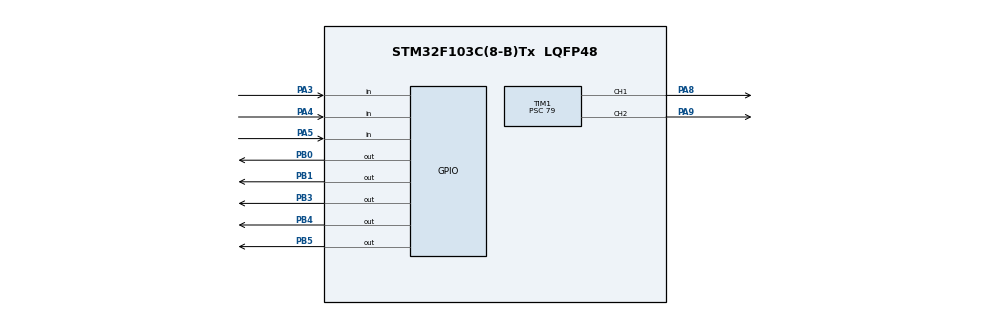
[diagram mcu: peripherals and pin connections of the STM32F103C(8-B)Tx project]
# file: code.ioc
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Mcu.Family=STM32F1
Mcu.Name=STM32F103C(8-B)Tx
Mcu.Package=LQFP48
NVIC.PriorityGroup=NVIC_PRIORITYGROUP_4
PA13.Mode=Serial_Wire
PA13.Signal=SYS_JTMS-SWDIO
PA14.Mode=Serial_Wire
PA14.Signal=SYS_JTCK-SWCLK
PA3.Signal=GPIO_Input
PA4.Signal=GPIO_Input
PA5.Signal=GPIO_Input
PA8.Signal=S_TIM1_CH1
PA9.Signal=S_TIM1_CH2
PB0.Signal=GPIO_Output
PB1.Signal=GPIO_Output
PB3.Signal=GPIO_Output
PB4.Signal=GPIO_Output
PB5.Signal=GPIO_Output
PD0-OSC_IN.Mode=HSE-External-Oscillator
PD0-OSC_IN.Signal=RCC_OSC_IN
PD1-OSC_OUT.Mode=HSE-External-Oscillator
PD1-OSC_OUT.Signal=RCC_OSC_OUT
ProjectManager.HeapSize=0x200
ProjectManager.StackSize=0x400
ProjectManager.TargetToolchain=MDK-ARM V5.32
RCC.APB1Freq_Value=8000000
RCC.APB2Freq_Value=8000000
RCC.SYSCLKSource=RCC_SYSCLKSOURCE_HSE
SH.S_TIM1_CH1.0=TIM1_CH1,PWM Generation1 CH1
SH.S_TIM1_CH2.0=TIM1_CH2,PWM Generation2 CH2
TIM1.Channel-PWM\ Generation1\ CH1=TIM_CHANNEL_1
TIM1.Channel-PWM\ Generation2\ CH2=TIM_CHANNEL_2
TIM1.OCMode_PWM-PWM\ Generation2\ CH2=TIM_OCMODE_PWM1
TIM1.Prescaler=79
TIM2.Prescaler=79
VP_TIM1_VS_ClockSourceINT.Mode=Internal
VP_TIM2_VS_ClockSourceINT.Mode=Internal
board=custom

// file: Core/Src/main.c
/* USER CODE BEGIN Header */
/**
  ******************************************************************************
  * @file           : main.c
  * @brief          : Main program body
  ******************************************************************************
  * @attention
  *
  * Copyright (c) 2023 STMicroelectronics.
  * All rights reserved.
  *
  * This software is licensed under terms that can be found in the LICENSE file
  * in the root directory of this software component.
  * If no LICENSE file comes with this software, it is provided AS-IS.
  *
  ******************************************************************************
  */
/* USER CODE END Header */
#include "main.h"

/* USER CODE BEGIN Includes */
uint8_t full_step_1_1[4] = {0x08,0x02,0x04,0x01};
uint8_t full_step_1_2[4] = {0x08,0x01,0x04,0x02};
uint8_t full_step_2_1[4] = {0x0A,0x06,0x05,0x09};
uint8_t full_step_2_2[4] = {0x0A,0x09,0x05,0x06};
uint8_t half_step_1[8]= {0x08,0x0A,0x02,0x06,0x04,0x05,0x01,0x09};
uint8_t half_step_2[8]= {0x08,0x09,0x01,0x05,0x04,0x06,0x02,0x0A};
uint8_t micro_step_1[8] = {20,38,56,70,83,92,98,100};
uint8_t micro_step_2[8] = {98,92,83,70,56,38,20,0};
uint8_t GPIO[4] = {GPIO_PIN_0,GPIO_PIN_1,GPIO_PIN_3,GPIO_PIN_5};
float cnt = 0;
float pos = 5;
float rpm = 200;
float t_delay;
int mode = 4;
/* USER CODE END Includes */

TIM_HandleTypeDef htim1;
TIM_HandleTypeDef htim2;

void SystemClock_Config(void);
static void MX_GPIO_Init(void);
static void MX_TIM1_Init(void);
static void MX_TIM2_Init(void);

/* USER CODE BEGIN 0 */
void duty_cycles_max(void)
{
	__HAL_TIM_SET_COMPARE(&htim1,TIM_CHANNEL_1,100);
	__HAL_TIM_SET_COMPARE(&htim1,TIM_CHANNEL_2,100);
}

void delay1_s(float time)
{
	__HAL_TIM_SetCounter(&htim2,0);
	while (__HAL_TIM_GetCounter(&htim2)<time*100000);
	cnt += 1;
}

void delay2_s(float time)
{
	__HAL_TIM_SetCounter(&htim2,0);
	while (__HAL_TIM_GetCounter(&htim2)<(time/2)*100000);
	cnt += 0.5;
}

void delay3_s(float time)
{
	__HAL_TIM_SetCounter(&htim2,0);
	while (__HAL_TIM_GetCounter(&htim2)<(time/16)*100000);
}

void full_step_1_cw(float rpm)
{
	duty_cycles_max();
	for(int i = 0; i < 4; i++)
	{
		for(int j = 0; j < 4; j++)
		{
			HAL_GPIO_WritePin(GPIOB,GPIO[j],(full_step_1_1[i]<<j)&0x08);
		}
		delay1_s(t_delay);
	}
}

void full_step_1_ccw(float rpm)
{
	duty_cycles_max();
	for(int i = 0; i < 4; i++)
	{
		for(int j = 0;j < 4; j++)
		{
			HAL_GPIO_WritePin(GPIOB,GPIO[j],(full_step_1_2[i]<<j)&0x08);
		}
		delay1_s(t_delay);
	}
}

void full_step_2_cw(float rpm)
{
	duty_cycles_max();
	for(int i = 0; i < 4; i++)
	{
		for(int j = 0; j < 4; j++)
		{
			HAL_GPIO_WritePin(GPIOB,GPIO[j],(full_step_2_1[i]<<j)&0x08);
		}
		delay1_s(t_delay);
	}
}

void full_step_2_ccw(float rpm)
{
	duty_cycles_max();
	for(int i = 0; i < 4; i++)
	{
		for(int j = 0; j < 4; j++)
		{
			HAL_GPIO_WritePin(GPIOB,GPIO[j],(full_step_2_2[i]<<j)&0x08);
		}
		delay1_s(t_delay);
	}
}

void half_step_cw(float rpm)
{
	duty_cycles_max();
	for(int i = 0; i < 8; i++)
	{
		for(int j = 0; j < 4; j++)
		{
			HAL_GPIO_WritePin(GPIOB,GPIO[j],(half_step_1[i]<<j)&0x08);
		}
		delay2_s(t_delay);
	}
}

void half_step_ccw(float rpm)
{
	duty_cycles_max();
	for(int i = 0; i < 8; i++)
	{
		for(int j = 0; j < 4; j++)
		{
			HAL_GPIO_WritePin(GPIOB,GPIO[j],(half_step_2[i]<<j)&0x08);
		}
		delay2_s(t_delay);
	}
}

void micro_step_cw(float rpm)
{
	__HAL_TIM_SET_COMPARE(&htim1,TIM_CHANNEL_2,0);
	__HAL_TIM_SET_COMPARE(&htim1,TIM_CHANNEL_1,100);
	for(int i = 0; i < 4; i++)
	{
		for(int j = 0; j < 4; j++)
		{
			HAL_GPIO_WritePin(GPIOB,GPIO[j],(full_step_1_1[i]<<j)&0x08);
		}
		if (i%2==0)
		{
			for(int i = 0; i < 8; i++)
			{
				__HAL_TIM_SET_COMPARE(&htim1,TIM_CHANNEL_2,micro_step_1[i]);
				delay3_s(t_delay);
			}
			for(int i = 0; i < 8 ; i++)
			{
				__HAL_TIM_SET_COMPARE(&htim1,TIM_CHANNEL_1,micro_step_2[i]);
				delay3_s(t_delay);
			}
		}
		else
		{
				for(int i = 0; i < 8; i++)
			{
				__HAL_TIM_SET_COMPARE(&htim1,TIM_CHANNEL_1,micro_step_1[i]);
				delay3_s(t_delay);
			}
			for(int i = 0; i < 8 ; i++)
			{
				__HAL_TIM_SET_COMPARE(&htim1,TIM_CHANNEL_2,micro_step_2[i]);
				delay3_s(t_delay);
			}
		}
		cnt += 1;
	}
}

void micro_step_ccw(float rpm)
{
	__HAL_TIM_SET_COMPARE(&htim1,TIM_CHANNEL_2,0);
	__HAL_TIM_SET_COMPARE(&htim1,TIM_CHANNEL_1,100);
	for(int i = 0; i < 4; i++)
	{
		for(int j = 0; j < 4; j++)
		{
			HAL_GPIO_WritePin(GPIOB,GPIO[j],(full_step_1_2[i]<<j)&0x08);
		}
		if (i%2==0)
		{
			for(int i = 0; i < 8; i++)
			{
				__HAL_TIM_SET_COMPARE(&htim1,TIM_CHANNEL_2,micro_step_1[i]);
				delay3_s(t_delay);
			}
			for(int i = 0; i < 8 ; i++)
			{
				__HAL_TIM_SET_COMPARE(&htim1,TIM_CHANNEL_1,micro_step_2[i]);
				delay3_s(t_delay);
			}
		}
		else
		{
				for(int i = 0; i < 8; i++)
			{
				__HAL_TIM_SET_COMPARE(&htim1,TIM_CHANNEL_1,micro_step_1[i]);
				delay3_s(t_delay);
			}
			for(int i = 0; i < 8 ; i++)
			{
				__HAL_TIM_SET_COMPARE(&htim1,TIM_CHANNEL_2,micro_step_2[i]);
				delay3_s(t_delay);
			}
		}
		cnt += 1;
	}
}

void position(float pos)
{
	if (cnt == 200*pos)
	{
		cnt = 0;
		mode = 0;
	}
}
/* USER CODE END 0 */

int main(void)
{

  /* MCU Configuration--------------------------------------------------------*/

  /* Reset of all peripherals, Initializes the Flash interface and the Systick. */
  HAL_Init();

  /* Configure the system clock */
  SystemClock_Config();

  /* Initialize all configured peripherals */
  MX_GPIO_Init();
  MX_TIM1_Init();
  MX_TIM2_Init();
  /* USER CODE BEGIN 2 */
	HAL_TIM_PWM_Start(&htim1,TIM_CHANNEL_1);
	HAL_TIM_PWM_Start(&htim1,TIM_CHANNEL_2);
	HAL_TIM_Base_Start(&htim1);

	HAL_TIM_Base_Start(&htim2);

	t_delay = 60/(rpm*(360/1.8));
  /* USER CODE END 2 */

  /* Infinite loop */
  while (1)
  {

    /* USER CODE BEGIN 3 */
		switch (mode)
		{
		case 0:
			for(int i = 0; i < 4; i++)
			{
				HAL_GPIO_WritePin(GPIOB,GPIO[i],0);
			}
			break;
		case 1:
			full_step_1_cw(rpm);
			position(pos);
			break;
		case 2:
			full_step_2_cw(rpm);
			position(pos);
			break;
		case 3:
			half_step_cw(rpm);
			position(pos);
			break;
		case 4:
			micro_step_cw(rpm);
			position(pos);
			break;
		case 5:
			full_step_1_ccw(rpm);
			position(pos);
			break;
		case 6:
			full_step_2_ccw(rpm);
			position(pos);
			break;
		case 7:
			half_step_ccw(rpm);
			position(pos);
			break;
		case 8:
			micro_step_ccw(rpm);
			position(pos);
			break;
		}

		/* USER CODE END 3 */
	}
}

void SystemClock_Config(void)
{
  RCC_OscInitTypeDef RCC_OscInitStruct = {0};
  RCC_ClkInitTypeDef RCC_ClkInitStruct = {0};

  /** Initializes the RCC Oscillators according to the specified parameters
  * in the RCC_OscInitTypeDef structure.
  */
  RCC_OscInitStruct.OscillatorType = RCC_OSCILLATORTYPE_HSE;
  RCC_OscInitStruct.HSEState = RCC_HSE_ON;
  RCC_OscInitStruct.PLL.PLLState = RCC_PLL_NONE;
  if (HAL_RCC_OscConfig(&RCC_OscInitStruct) != HAL_OK)
  {
    Error_Handler();
  }

  /** Initializes the CPU, AHB and APB buses clocks
  */
  RCC_ClkInitStruct.ClockType = RCC_CLOCKTYPE_HCLK|RCC_CLOCKTYPE_SYSCLK
                              |RCC_CLOCKTYPE_PCLK1|RCC_CLOCKTYPE_PCLK2;
  RCC_ClkInitStruct.SYSCLKSource = RCC_SYSCLKSOURCE_HSE;
  RCC_ClkInitStruct.AHBCLKDivider = RCC_SYSCLK_DIV1;
  RCC_ClkInitStruct.APB1CLKDivider = RCC_HCLK_DIV1;
  RCC_ClkInitStruct.APB2CLKDivider = RCC_HCLK_DIV1;

  if (HAL_RCC_ClockConfig(&RCC_ClkInitStruct, FLASH_LATENCY_0) != HAL_OK)
  {
    Error_Handler();
  }
}

static void MX_TIM1_Init(void)
{

  TIM_ClockConfigTypeDef sClockSourceConfig = {0};
  TIM_MasterConfigTypeDef sMasterConfig = {0};
  TIM_OC_InitTypeDef sConfigOC = {0};
  TIM_BreakDeadTimeConfigTypeDef sBreakDeadTimeConfig = {0};

  htim1.Instance = TIM1;
  htim1.Init.Prescaler = 79;
  htim1.Init.CounterMode = TIM_COUNTERMODE_UP;
  htim1.Init.Period = 99;
  htim1.Init.ClockDivision = TIM_CLOCKDIVISION_DIV1;
  htim1.Init.RepetitionCounter = 0;
  htim1.Init.AutoReloadPreload = TIM_AUTORELOAD_PRELOAD_DISABLE;
  if (HAL_TIM_Base_Init(&htim1) != HAL_OK)
  {
    Error_Handler();
  }
  sClockSourceConfig.ClockSource = TIM_CLOCKSOURCE_INTERNAL;
  if (HAL_TIM_ConfigClockSource(&htim1, &sClockSourceConfig) != HAL_OK)
  {
    Error_Handler();
  }
  if (HAL_TIM_PWM_Init(&htim1) != HAL_OK)
  {
    Error_Handler();
  }
  sMasterConfig.MasterOutputTrigger = TIM_TRGO_RESET;
  sMasterConfig.MasterSlaveMode = TIM_MASTERSLAVEMODE_DISABLE;
  if (HAL_TIMEx_MasterConfigSynchronization(&htim1, &sMasterConfig) != HAL_OK)
  {
    Error_Handler();
  }
  sConfigOC.OCMode = TIM_OCMODE_PWM1;
  sConfigOC.Pulse = 0;
  sConfigOC.OCPolarity = TIM_OCPOLARITY_HIGH;
  sConfigOC.OCNPolarity = TIM_OCNPOLARITY_HIGH;
  sConfigOC.OCFastMode = TIM_OCFAST_DISABLE;
  sConfigOC.OCIdleState = TIM_OCIDLESTATE_RESET;
  sConfigOC.OCNIdleState = TIM_OCNIDLESTATE_RESET;
  if (HAL_TIM_PWM_ConfigChannel(&htim1, &sConfigOC, TIM_CHANNEL_1) != HAL_OK)
  {
    Error_Handler();
  }
  if (HAL_TIM_PWM_ConfigChannel(&htim1, &sConfigOC, TIM_CHANNEL_2) != HAL_OK)
  {
    Error_Handler();
  }
  sBreakDeadTimeConfig.OffStateRunMode = TIM_OSSR_DISABLE;
  sBreakDeadTimeConfig.OffStateIDLEMode = TIM_OSSI_DISABLE;
  sBreakDeadTimeConfig.LockLevel = TIM_LOCKLEVEL_OFF;
  sBreakDeadTimeConfig.DeadTime = 0;
  sBreakDeadTimeConfig.BreakState = TIM_BREAK_DISABLE;
  sBreakDeadTimeConfig.BreakPolarity = TIM_BREAKPOLARITY_HIGH;
  sBreakDeadTimeConfig.AutomaticOutput = TIM_AUTOMATICOUTPUT_DISABLE;
  if (HAL_TIMEx_ConfigBreakDeadTime(&htim1, &sBreakDeadTimeConfig) != HAL_OK)
  {
    Error_Handler();
  }
  HAL_TIM_MspPostInit(&htim1);

}

static void MX_TIM2_Init(void)
{

  TIM_ClockConfigTypeDef sClockSourceConfig = {0};
  TIM_MasterConfigTypeDef sMasterConfig = {0};

  htim2.Instance = TIM2;
  htim2.Init.Prescaler = 79;
  htim2.Init.CounterMode = TIM_COUNTERMODE_UP;
  htim2.Init.Period = 65535;
  htim2.Init.ClockDivision = TIM_CLOCKDIVISION_DIV1;
  htim2.Init.AutoReloadPreload = TIM_AUTORELOAD_PRELOAD_DISABLE;
  if (HAL_TIM_Base_Init(&htim2) != HAL_OK)
  {
    Error_Handler();
  }
  sClockSourceConfig.ClockSource = TIM_CLOCKSOURCE_INTERNAL;
  if (HAL_TIM_ConfigClockSource(&htim2, &sClockSourceConfig) != HAL_OK)
  {
    Error_Handler();
  }
  sMasterConfig.MasterOutputTrigger = TIM_TRGO_RESET;
  sMasterConfig.MasterSlaveMode = TIM_MASTERSLAVEMODE_DISABLE;
  if (HAL_TIMEx_MasterConfigSynchronization(&htim2, &sMasterConfig) != HAL_OK)
  {
    Error_Handler();
  }

}

static void MX_GPIO_Init(void)
{
  GPIO_InitTypeDef GPIO_InitStruct = {0};

  /* GPIO Ports Clock Enable */
  __HAL_RCC_GPIOD_CLK_ENABLE();
  __HAL_RCC_GPIOA_CLK_ENABLE();
  __HAL_RCC_GPIOB_CLK_ENABLE();

  /*Configure GPIO pin Output Level */
  HAL_GPIO_WritePin(GPIOB, GPIO_PIN_0|GPIO_PIN_1|GPIO_PIN_3|GPIO_PIN_4
                          |GPIO_PIN_5, GPIO_PIN_RESET);

  /*Configure GPIO pins : PA3 PA4 PA5 */
  GPIO_InitStruct.Pin = GPIO_PIN_3|GPIO_PIN_4|GPIO_PIN_5;
  GPIO_InitStruct.Mode = GPIO_MODE_INPUT;
  GPIO_InitStruct.Pull = GPIO_PULLUP ;// GPIO_NOPULL;
  HAL_GPIO_Init(GPIOA, &GPIO_InitStruct);

  /*Configure GPIO pins : PB0 PB1 PB3 PB4
                           PB5 */
  GPIO_InitStruct.Pin = GPIO_PIN_0|GPIO_PIN_1|GPIO_PIN_3|GPIO_PIN_4
                          |GPIO_PIN_5;
  GPIO_InitStruct.Mode = GPIO_MODE_OUTPUT_PP;
  GPIO_InitStruct.Pull = GPIO_NOPULL;
  GPIO_InitStruct.Speed = GPIO_SPEED_FREQ_LOW;
  HAL_GPIO_Init(GPIOB, &GPIO_InitStruct);

}

void Error_Handler(void)
{
  __disable_irq();
  while (1)
  {
  }
}
